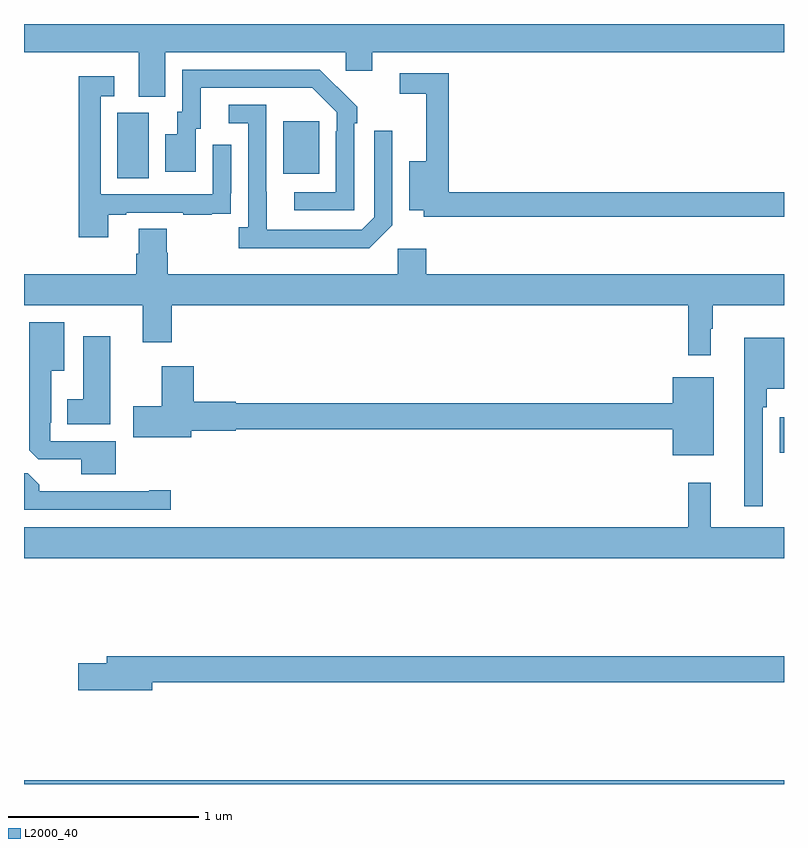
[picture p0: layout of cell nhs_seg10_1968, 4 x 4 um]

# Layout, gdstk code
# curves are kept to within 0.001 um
import gdstk
lib = gdstk.Library(unit=1e-6, precision=1e-09)
def R(c, l, rs):  # rectangles x0, y0, x1, y1
    for r in rs: c.add(gdstk.rectangle(r[:2], r[2:], *l))
def P(c, l, *ps):  # polygons
    for p in ps: c.add(gdstk.Polygon(p, *l))
L2000_40 = (2000, 40)

nhs_seg10_1968 = lib.new_cell('nhs_seg10_1968')
R(nhs_seg10_1968, L2000_40, [(215,1260.5,219,1260.52), (218.978,1262.243,219,1262.431), (215.492,1263.688,215.656,1264.032), (216.365,1263.713,216.553,1263.988)])
P(nhs_seg10_1968, L2000_40, [(215.743,1264.352),(216.693,1264.352),(216.693,1264.254),(216.832,1264.254),(216.832,1264.352),(219,1264.352),(219,1264.5),(215,1264.5),(215,1264.352),(215.603,1264.352),(215.603,1264.117),(215.743,1264.117)],
  [(216.738,1263.977),(216.753,1263.977),(216.753,1264.065),(216.556,1264.26),(215.832,1264.26),(215.832,1264.038),(215.807,1264.038),(215.807,1263.919),(215.744,1263.919),(215.744,1263.723),(215.905,1263.723),(215.905,1263.948),(215.929,1263.948),(215.929,1264.164),(216.517,1264.164),(216.645,1264.035),(216.645,1263.935),(216.642,1263.935),(216.642,1263.615),(216.423,1263.615),(216.423,1263.519),(216.738,1263.519)],
  [(219,1263.614),(217.235,1263.614),(217.235,1264.242),(216.978,1264.242),(216.978,1264.134),(217.118,1264.134),(217.118,1263.778),(217.028,1263.778),(217.028,1263.521),(217.104,1263.521),(217.104,1263.486),(219,1263.486)],
  [(215.443,1263.495),(215.539,1263.495),(215.539,1263.507),(215.839,1263.507),(215.839,1263.495),(215.987,1263.495),(215.987,1263.501),(216.089,1263.501),(216.089,1263.61),(216.09,1263.61),(216.09,1263.865),(215.994,1263.865),(215.994,1263.603),(215.403,1263.603),(215.403,1264.119),(215.476,1264.119),(215.476,1264.225),(215.287,1264.225),(215.287,1263.378),(215.443,1263.378)],
  [(216.939,1263.441),(216.939,1263.937),(216.843,1263.937),(216.843,1263.483),(216.777,1263.417),(216.277,1263.417),(216.276,1264.074),(216.078,1264.074),(216.078,1263.978),(216.18,1263.978),(216.18,1263.43),(216.129,1263.43),(216.129,1263.32),(216.818,1263.32)],
  [(218.614,1262.897),(218.626,1262.897),(218.626,1263.02),(219,1263.02),(219,1263.184),(217.118,1263.184),(217.118,1263.316),(216.966,1263.316),(216.966,1263.184),(215.756,1263.184),(215.756,1263.297),(215.751,1263.297),(215.751,1263.422),(215.603,1263.422),(215.603,1263.29),(215.591,1263.29),(215.591,1263.184),(215,1263.184),(215,1263.02),(215.624,1263.02),(215.624,1262.826),(215.777,1262.826),(215.777,1263.02),(218.497,1263.02),(218.497,1262.757),(218.614,1262.757)],
  [(215.483,1262.304),(215.139,1262.304),(215.139,1262.401),(215.143,1262.401),(215.143,1262.675),(215.212,1262.675),(215.212,1262.929),(215.027,1262.929),(215.027,1262.257),(215.076,1262.208),(215.3,1262.208),(215.3,1262.129),(215.483,1262.129)],
  [(215.455,1262.857),(215.312,1262.857),(215.312,1262.524),(215.228,1262.524),(215.228,1262.393),(215.455,1262.393)],
  [(218.889,1262.483),(218.909,1262.483),(218.909,1262.579),(219,1262.579),(219,1262.848),(218.792,1262.848),(218.792,1261.962),(218.889,1261.962)],
  [(218.629,1262.641),(218.414,1262.641),(218.414,1262.504),(216.114,1262.504),(216.114,1262.512),(215.894,1262.512),(215.894,1262.698),(215.726,1262.698),(215.726,1262.487),(215.574,1262.487),(215.574,1262.324),(215.881,1262.324),(215.881,1262.36),(216.114,1262.36),(216.114,1262.368),(218.414,1262.368),(218.414,1262.231),(218.629,1262.231)],
  [(215.773,1262.045),(215.66,1262.045),(215.66,1262.04),(215.081,1262.04),(215.081,1262.074),(215.019,1262.136),(215,1262.136),(215,1261.944),(215.773,1261.944)],
  [(219,1261.852),(218.615,1261.852),(218.615,1262.086),(218.497,1262.086),(218.497,1261.852),(215,1261.852),(215,1261.688),(219,1261.688)],
  [(215.674,1261.036),(219,1261.036),(219,1261.172),(215.435,1261.172),(215.435,1261.136),(215.286,1261.136),(215.286,1260.994),(215.674,1260.994)])

lib.write_gds('nhs_seg10_1968.gds')
